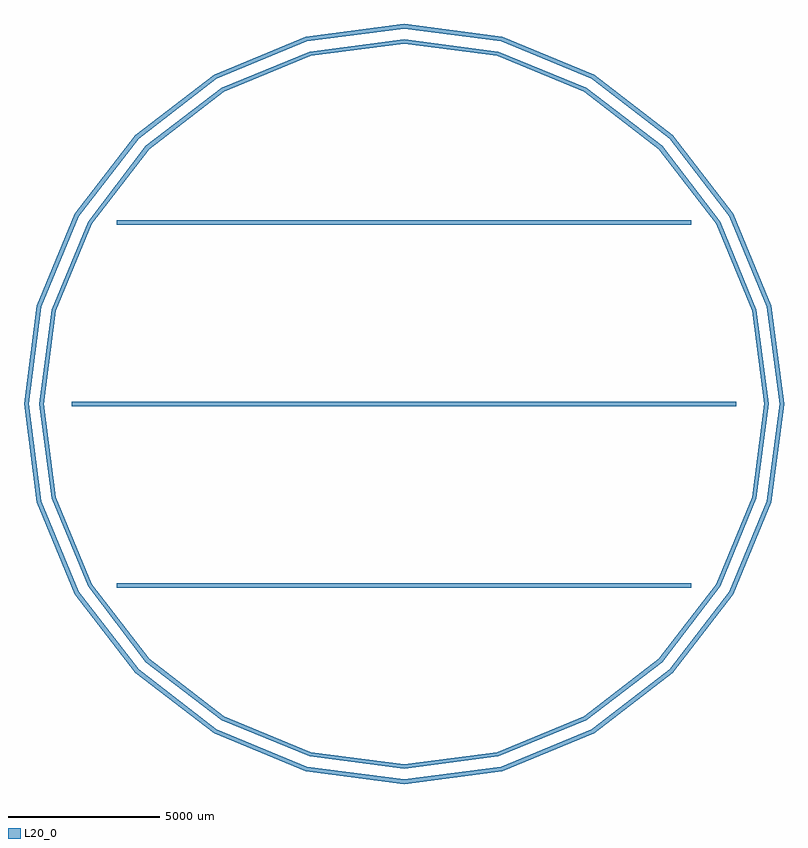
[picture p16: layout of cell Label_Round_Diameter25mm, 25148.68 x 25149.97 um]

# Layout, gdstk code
import gdstk
lib = gdstk.Library(unit=1e-6, precision=1e-09)
L20_0 = (20, 0)

label_round_diameter25mm = lib.new_cell('Label_Round_Diameter25mm')
label_round_diameter25mm.add(gdstk.FlexPath([(12499.34,0),(12073.435,3235.067),(10824.746,6249.67),(8838.368,8838.368),(6249.67,10824.746),(3235.067,12073.435),(0,12499.34),(-3235.067,12073.435),(-6249.67,10824.746),(-8838.368,8838.368),(-10824.746,6249.67),(-12073.435,3235.067),(-12499.34,0),(-12073.435,-3235.067),(-10824.746,-6249.67),(-8838.368,-8838.368),(-6249.67,-10824.746),(-3235.067,-12073.435),(0,-12499.34),(3235.067,-12073.435),(6249.67,-10824.746),(8838.368,-8838.368),(10824.746,-6249.67),(12073.435,-3235.067),(12499.34,0)], 149.998, ends="flush", simple_path=True, layer=20, datatype=0))  # L20_0
label_round_diameter25mm.add(gdstk.FlexPath([(-11998.96,0),(-11590.105,-3105.559),(-10391.404,-5999.48),(-8484.546,-8484.546),(-5999.48,-10391.404),(-3105.559,-11590.105),(0,-11998.96),(3105.559,-11590.105),(5999.48,-10391.404),(8484.546,-8484.546),(10391.404,-5999.48),(11590.105,-3105.559),(11998.96,0),(11590.105,3105.559),(10391.404,5999.48),(8484.546,8484.546),(5999.48,10391.404),(3105.559,11590.105),(0,11998.96),(-3105.559,11590.105),(-5999.48,10391.404),(-8484.546,8484.546),(-10391.404,5999.48),(-11590.105,3105.559),(-11998.96,0)], 149.998, ends="flush", simple_path=True, layer=20, datatype=0))  # L20_0
label_round_diameter25mm.add(gdstk.FlexPath([(-11000.74,0),(11000.74,0)], 149.998, ends="flush", simple_path=True, layer=20, datatype=0))  # L20_0
label_round_diameter25mm.add(gdstk.FlexPath([(9499.6,5999.48),(-9499.6,5999.48)], 149.998, ends="flush", simple_path=True, layer=20, datatype=0))  # L20_0
label_round_diameter25mm.add(gdstk.FlexPath([(-9499.6,-5999.48),(9499.6,-5999.48)], 149.998, ends="flush", simple_path=True, layer=20, datatype=0))  # L20_0
label_round_diameter25mm.add(gdstk.Label('type', (0,-14500.86), layer=9, texttype=0))
label_round_diameter25mm.add(gdstk.Label('devicename', (0,14000.48), layer=9, texttype=0))

lib.write_gds('Label_Round_Diameter25mm.gds')
